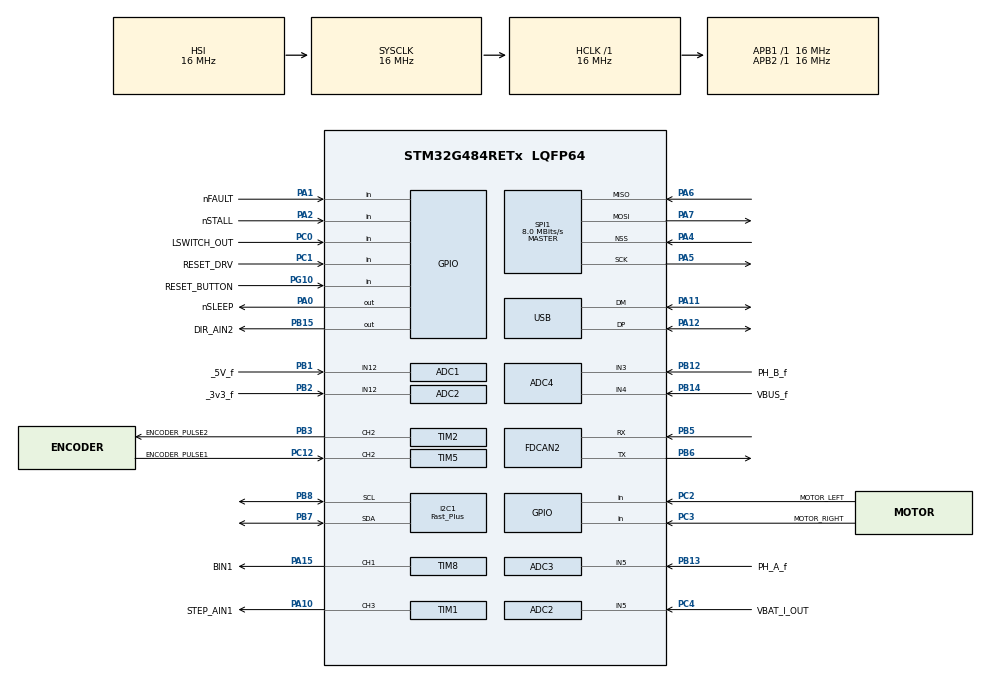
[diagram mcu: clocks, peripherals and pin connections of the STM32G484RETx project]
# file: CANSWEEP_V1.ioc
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ADC1.Channel-0\#ChannelRegularConversion=ADC_CHANNEL_12
ADC1.NbrOfConversionFlag=1
ADC1.OffsetNumber-0\#ChannelRegularConversion=ADC_OFFSET_NONE
ADC1.Rank-0\#ChannelRegularConversion=1
ADC1.SamplingTime-0\#ChannelRegularConversion=ADC_SAMPLETIME_2CYCLES_5
ADC1.master=1
ADC2.Channel-0\#ChannelRegularConversion=ADC_CHANNEL_12
ADC2.NbrOfConversionFlag=1
ADC2.OffsetNumber-0\#ChannelRegularConversion=ADC_OFFSET_NONE
ADC2.Rank-0\#ChannelRegularConversion=1
ADC2.SamplingTime-0\#ChannelRegularConversion=ADC_SAMPLETIME_2CYCLES_5
ADC3.Channel-0\#ChannelRegularConversion=ADC_CHANNEL_5
ADC3.NbrOfConversionFlag=1
ADC3.OffsetNumber-0\#ChannelRegularConversion=ADC_OFFSET_NONE
ADC3.Rank-0\#ChannelRegularConversion=1
ADC3.SamplingTime-0\#ChannelRegularConversion=ADC_SAMPLETIME_2CYCLES_5
ADC3.master=1
ADC4.Channel-0\#ChannelRegularConversion=ADC_CHANNEL_3
ADC4.NbrOfConversionFlag=1
ADC4.OffsetNumber-0\#ChannelRegularConversion=ADC_OFFSET_NONE
ADC4.Rank-0\#ChannelRegularConversion=1
ADC4.SamplingTime-0\#ChannelRegularConversion=ADC_SAMPLETIME_2CYCLES_5
ADC4.SingleDiff-0\#ChannelRegularConversion=ADC_DIFFERENTIAL_ENDED
FDCAN2.CalculateBaudRateNominal=333333
FDCAN2.CalculateTimeBitNominal=3000
FDCAN2.CalculateTimeQuantumNominal=1000.0
I2C1.I2C_Speed_Mode=I2C_Fast_Plus
I2C1.Timing=0x00200105
Mcu.Family=STM32G4
Mcu.Name=STM32G484RETx
Mcu.Package=LQFP64
NVIC.FDCAN2_IT0_IRQn=true\:0\:0\:false\:false\:true\:true\:true\:true
NVIC.FDCAN2_IT1_IRQn=true\:0\:0\:false\:false\:true\:true\:true\:true
NVIC.PriorityGroup=NVIC_PRIORITYGROUP_4
NVIC.TIM3_IRQn=true\:0\:0\:false\:false\:true\:true\:true\:true
PA0.GPIO_Label=nSLEEP
PA0.Signal=GPIO_Output
PA1.GPIO_Label=nFAULT
PA1.Signal=GPIO_Input
PA10.GPIO_Label=STEP_AIN1
PA10.Signal=S_TIM1_CH3
PA11.Mode=Device
PA11.Signal=USB_DM
PA12.Mode=Device
PA12.Signal=USB_DP
PA13.Mode=Serial_Wire
PA13.Signal=SYS_JTMS-SWDIO
PA14.Mode=Serial_Wire
PA14.Signal=SYS_JTCK-SWCLK
PA15.GPIO_Label=BIN1
PA15.Signal=S_TIM8_CH1
PA2.GPIO_Label=nSTALL
PA2.Signal=GPIO_Input
PA4.Mode=NSS_Signal_Hard_Input
PA4.Signal=SPI1_NSS
PA5.Mode=Full_Duplex_Master
PA5.Signal=SPI1_SCK
PA6.Mode=Full_Duplex_Master
PA6.Signal=SPI1_MISO
PA7.Mode=Full_Duplex_Master
PA7.Signal=SPI1_MOSI
PB1.GPIO_Label=_5V_f
PB1.Mode=IN12-Single-Ended
PB1.Signal=ADC1_IN12
PB12.GPIO_Label=PH_B_f
PB12.Mode=IN3-Differential
PB12.Signal=ADC4_IN3
PB13.GPIO_Label=PH_A_f
PB13.Mode=IN5-Single-Ended
PB13.Signal=ADC3_IN5
PB14.GPIO_Label=VBUS_f
PB14.Mode=IN3-Differential
PB14.Signal=ADC4_IN4
PB15.GPIO_Label=DIR_AIN2
PB15.GPIO_Speed=GPIO_SPEED_FREQ_HIGH
PB15.Signal=GPIO_Output
PB2.GPIO_Label=_3v3_f
PB2.Mode=IN12-Single-Ended
PB2.Signal=ADC2_IN12
PB3.GPIO_Label=ENCODER_PULSE2
PB3.Signal=S_TIM2_CH2
PB5.Mode=FDCAN_Activate
PB5.Signal=FDCAN2_RX
PB6.Mode=FDCAN_Activate
PB6.Signal=FDCAN2_TX
PB7.Mode=I2C
PB7.Signal=I2C1_SDA
PB8-BOOT0.Mode=I2C
PB8-BOOT0.Signal=I2C1_SCL
PC0.GPIO_Label=LSWITCH_OUT
PC0.Signal=GPIO_Input
PC1.GPIO_Label=RESET_DRV
PC1.Signal=GPIO_Input
PC10.GPIO_Label=BIN2
PC10.Signal=TIM8_CH1N
PC12.GPIO_Label=ENCODER_PULSE1
PC12.Signal=S_TIM5_CH2
PC2.GPIO_Label=MOTOR_LEFT
PC2.Signal=GPIO_Input
PC3.GPIO_Label=MOTOR_RIGHT
PC3.Signal=GPIO_Input
PC4.GPIO_Label=VBAT_I_OUT
PC4.Mode=IN5-Single-Ended
PC4.Signal=ADC2_IN5
PF0-OSC_IN.Mode=HSE-External-Oscillator
PF0-OSC_IN.Signal=RCC_OSC_IN
PF1-OSC_OUT.Mode=HSE-External-Oscillator
PF1-OSC_OUT.Signal=RCC_OSC_OUT
PG10-NRST.GPIO_Label=RESET_BUTTON
PG10-NRST.Signal=GPIO_Input
ProjectManager.HeapSize=0x200
ProjectManager.StackSize=0x400
ProjectManager.TargetToolchain=STM32CubeIDE
RCC.ADC12Freq_Value=16000000
RCC.ADC345Freq_Value=16000000
RCC.AHBFreq_Value=16000000
RCC.APB1Freq_Value=16000000
RCC.APB1TimFreq_Value=16000000
RCC.APB2Freq_Value=16000000
RCC.APB2TimFreq_Value=16000000
RCC.CortexFreq_Value=16000000
RCC.EXTERNAL_CLOCK_VALUE=12288000
RCC.HCLKFreq_Value=16000000
RCC.HSE_VALUE=8000000
RCC.HSI48_VALUE=48000000
RCC.HSI_VALUE=16000000
RCC.LSE_VALUE=32768
RCC.PLLN=12
RCC.PLLQ=RCC_PLLQ_DIV4
RCC.SYSCLKFreq_VALUE=16000000
RCC.USBFreq_Value=48000000
RCC.VCOOutputFreq_Value=192000000
SH.S_TIM1_CH3.0=TIM1_CH3,PWM Generation3 CH3
SH.S_TIM2_CH2.0=TIM2_CH2,PWM Generation2 CH2
SH.S_TIM5_CH2.0=TIM5_CH2,PWM_Input_2
SH.S_TIM8_CH1.0=TIM8_CH1,PWM Generation1 CH1
SPI1.CalculateBaudRate=8.0 MBits/s
SPI1.DataSize=SPI_DATASIZE_8BIT
SPI1.Direction=SPI_DIRECTION_2LINES
SPI1.Mode=SPI_MODE_MASTER
SPI1.VirtualNSS=VM_NSSHARD
SPI1.VirtualType=VM_MASTER
TIM1.AutoReloadPreload=TIM_AUTORELOAD_PRELOAD_ENABLE
TIM1.Channel-PWM\ Generation3\ CH3=TIM_CHANNEL_3
TIM1.OCFastMode_PWM-PWM\ Generation3\ CH3=TIM_OCFAST_ENABLE
TIM1.PulseNoDither_3=32768
TIM2.Channel-PWM\ Generation2\ CH2=TIM_CHANNEL_2
TIM3.PeriodNoDither=999
TIM3.Prescaler=31
TIM8.Channel-PWM\ Generation1\ CH1=TIM_CHANNEL_1
VP_SYS_VS_DBSignals.Mode=DisableDeadBatterySignals
VP_TIM1_VS_ClockSourceINT.Mode=Internal
VP_TIM3_VS_ClockSourceINT.Mode=Internal
VP_TIM5_VS_ClockSourceINT.Mode=Internal
board=custom

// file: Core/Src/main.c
/* USER CODE BEGIN Header */
/**
  ******************************************************************************
  * @file           : main.c
  * @brief          : Main program body
  ******************************************************************************
  * @attention
  *
  * Copyright (c) 2025 STMicroelectronics.
  * All rights reserved.
  *
  * This software is licensed under terms that can be found in the LICENSE file
  * in the root directory of this software component.
  * If no LICENSE file comes with this software, it is provided AS-IS.
  *
  * This code belongs to the development of the CANSWEEP V1 board kkk
  ******************************************************************************
  */
/* USER CODE END Header */
#include "main.h"

/* USER CODE BEGIN Includes */
#include <string.h> //Se incluye para poder usar funciones de manipulación de cadenas, como memcpy(), strcmp(), etc.
#include "encoder.h"
/* USER CODE END Includes */

/* USER CODE BEGIN PTD */
FDCAN_TxHeaderTypeDef TxHeader; // Estructura para definir la cabecera del mensaje CAN que vamos a enviar
FDCAN_RxHeaderTypeDef RxHeader; // Estructura para almacenar la cabecera del mensaje CAN recibido

/* USER CODE END PTD */

/* USER CODE BEGIN PD */
#define AS5600_ADDR 0x6C  // 7-bit address << 1 (Dirección I2C del encoder AS5600 (7 bits << 1 = 0x6C))
#define ANGLE_MSB_REG 0x0E  // Dirección del registro de ángulo del AS5600
/* USER CODE END PD */

ADC_HandleTypeDef hadc1;
ADC_HandleTypeDef hadc2;
ADC_HandleTypeDef hadc3;
ADC_HandleTypeDef hadc4;

FDCAN_HandleTypeDef hfdcan2;

I2C_HandleTypeDef hi2c1;

SPI_HandleTypeDef hspi1;

TIM_HandleTypeDef htim1;
TIM_HandleTypeDef htim2;
TIM_HandleTypeDef htim3;
TIM_HandleTypeDef htim5;
TIM_HandleTypeDef htim8;

PCD_HandleTypeDef hpcd_USB_FS;

/* USER CODE BEGIN PV */
uint8_t TxData[8]; // Buffer para datos CAN a transmitir (máximo 8 bytes)
uint8_t RxData[8]; // Buffer para datos CAN recibidos

volatile uint32_t pwm_rising = 0; // Marca de tiempo del flanco de subida del pulso del encoder
volatile uint32_t pwm_width = 0; // Duración del pulso (ancho), calculado con input capture

Encoder_Handle_t encoder_handle;

volatile uint8_t encoder_read_flag = 0;
/* USER CODE END PV */

void SystemClock_Config(void);
static void MX_GPIO_Init(void);
static void MX_I2C1_Init(void);
static void MX_SPI1_Init(void);
static void MX_USB_PCD_Init(void);
static void MX_ADC3_Init(void);
static void MX_ADC4_Init(void);
static void MX_FDCAN2_Init(void);
static void MX_ADC1_Init(void);
static void MX_ADC2_Init(void);
static void MX_TIM1_Init(void);
static void MX_TIM2_Init(void);
static void MX_TIM5_Init(void);
static void MX_TIM8_Init(void);
static void MX_TIM3_Init(void);
/* USER CODE BEGIN PFP */

// Funciones de control del driver DRV8711
void DRV8711_WriteRegister(uint8_t address, uint16_t data);
uint16_t DRV8711_ReadRegister(uint8_t address);
void DRV8711_Init(void);
void Motor_Step(uint32_t steps, uint8_t direction, uint32_t speed);

/* USER CODE END PFP */

/* USER CODE BEGIN 0 */

// Función para leer el ángulo actual del encoder AS5600
uint16_t ReadAS5600Angle()
{
    uint8_t angle_data[2];
    HAL_I2C_Mem_Read(&hi2c1, AS5600_ADDR, ANGLE_MSB_REG, I2C_MEMADD_SIZE_8BIT, angle_data, 2, HAL_MAX_DELAY);
    // ^ Lectura de 2 bytes desde el registro ANGLE_MSB_REG del AS5600 vía I2C
    uint16_t angle = ((angle_data[0] << 8) | angle_data[1]) & 0x0FFF;  // 12-bit mask
    // ^ Combina los dos bytes y aplica máscara de 12 bits
    return angle;
}

// Callback que se ejecuta cuando se captura un flanco en el pin del encoder (TIM5_CH2)
void HAL_TIM_IC_CaptureCallback(TIM_HandleTypeDef *htim)
{
    if (htim->Channel == HAL_TIM_ACTIVE_CHANNEL_2)
    {
        uint32_t capture = HAL_TIM_ReadCapturedValue(htim, TIM_CHANNEL_2);

        static uint8_t last_edge = 0;
        static uint32_t pwm_rising = 0;
        extern volatile uint32_t pwm_width;

        if (!last_edge) {
            pwm_rising = capture;
            __HAL_TIM_SET_CAPTUREPOLARITY(htim, TIM_CHANNEL_2, TIM_INPUTCHANNELPOLARITY_FALLING);
            last_edge = 1;
        } else {
            pwm_width = (capture >= pwm_rising) ? (capture - pwm_rising) : ((0xFFFFFFFF - pwm_rising) + capture);
            __HAL_TIM_SET_CAPTUREPOLARITY(htim, TIM_CHANNEL_2, TIM_INPUTCHANNELPOLARITY_RISING);
            last_edge = 0;
        }
    }
}
/* USER CODE END 0 */

int main(void)
{

  /* MCU Configuration--------------------------------------------------------*/

  /* Reset of all peripherals, Initializes the Flash interface and the Systick. */
  HAL_Init();

  /* Configure the system clock */
  SystemClock_Config();

  /* Initialize all configured peripherals */
  MX_GPIO_Init();
  MX_I2C1_Init();
  MX_SPI1_Init();
  MX_USB_PCD_Init();
  MX_ADC3_Init();
  MX_ADC4_Init();
  MX_FDCAN2_Init();
  MX_ADC1_Init();
  MX_ADC2_Init();
  MX_TIM1_Init();
  MX_TIM2_Init();
  MX_TIM5_Init();
  MX_TIM8_Init();
  MX_TIM3_Init();
  /* USER CODE BEGIN 2 */

  // Funció per inicialitzar tot lo de l'encoder (I2C)
  Encoder_Init(&encoder_handle, &hi2c1);

  // Inicialitzar timer interrupt per l'encoder
  HAL_TIM_Base_Start_IT(&htim3);

  // Inicializar DRV8711
  DRV8711_Init();

  //  Inicializar encoder, inicio del timer en modo captura por interrupción para leer el pulso del encoder
  HAL_TIM_IC_Start_IT(&htim5, TIM_CHANNEL_2);  // Start input capture

  //  Inicializar CAN
  HAL_FDCAN_Start(&hfdcan2); // Se inicia la periferia CAN

  // Activate notification for RX FIFO 0
  HAL_FDCAN_ActivateNotification(&hfdcan2, FDCAN_IT_RX_FIFO0_NEW_MESSAGE, 0); // Activación de interrupciones por nuevos mensajes recibidos en RX FIFO0

  // Setup TX Header for CAN messages
  TxHeader.Identifier = 0x123;
  TxHeader.IdType = FDCAN_STANDARD_ID;
  TxHeader.TxFrameType = FDCAN_DATA_FRAME;
  TxHeader.DataLength = FDCAN_DLC_BYTES_8;
  TxHeader.ErrorStateIndicator = FDCAN_ESI_ACTIVE;
  TxHeader.BitRateSwitch = FDCAN_BRS_OFF;
  TxHeader.FDFormat = FDCAN_CLASSIC_CAN;
  TxHeader.TxEventFifoControl = FDCAN_NO_TX_EVENTS;
  TxHeader.MessageMarker = 0;

  // Transmit example
  strcpy((char*)TxData, "HELLO");
  HAL_FDCAN_AddMessageToTxFifoQ(&hfdcan2, &TxHeader, TxData); // Copia el string "HELLO" al buffer TxData
  /* USER CODE END 2 */

  /* Infinite loop */
  /* USER CODE BEGIN WHILE */
  while (1)
  {

	  if (encoder_read_flag) //check si s'ha de fer una lectura de l'encoder
	  {
		  encoder_read_flag = 0; //desactivem el flag
		  Encoder_UpdatePosition(&encoder_handle, &hi2c1);  // lectura encoder
	  }

	  // CAN send commands test
	  strcpy((char*)TxData, "PING");
	  HAL_FDCAN_AddMessageToTxFifoQ(&hfdcan2, &TxHeader, TxData);

	  // Lectura de ángulo del encoder vía I2C
	  // uint16_t current_angle = ReadAS5600Angle();
	  // Conversión del ancho de pulso a grados (asumiendo mapeo entre 1000 y 2000us)
	  // float angle_pwm_deg = ((float)pwm_width - 1000.0f) * 0.36f;

	  // Read Encoder and transform raw data to degrees
	  uint16_t raw_angle = ReadAS5600Angle(); // Lee valor crudo del AS5600
	  float angle_deg = (raw_angle * 360.0f) / 4096.0f; // Convierte a grados

	  float target_angle = 180.0f;

	  // Controlar motor usando la variable de posicion del encoder
	    if (angle_deg < target_angle - 1 || angle_deg > target_angle + 1)
	    {
	        Motor_Step(1, 1, 1000); // Paso hacia adelante a 1000 pasos/s
	    }
	    else
	    {
	        //printf("Objetivo alcanzado: %.2f°\r\n", angle_deg);
	        break; // Salimos del bucle
	    }

	  // Enviar feedback
		uint8_t can_data[8] = {0}; // clean buffer
		memcpy(can_data, &angle_deg, sizeof(float)); // Copiar float (4 bytes) al buffer CAN

		HAL_FDCAN_AddMessageToTxFifoQ(&hfdcan2, &TxHeader, can_data);

    /* USER CODE END WHILE */

  }
}

void SystemClock_Config(void)
{
  RCC_OscInitTypeDef RCC_OscInitStruct = {0};
  RCC_ClkInitTypeDef RCC_ClkInitStruct = {0};

  /** Configure the main internal regulator output voltage
  */
  HAL_PWREx_ControlVoltageScaling(PWR_REGULATOR_VOLTAGE_SCALE1);

  /** Initializes the RCC Oscillators according to the specified parameters
  * in the RCC_OscInitTypeDef structure.
  */
  RCC_OscInitStruct.OscillatorType = RCC_OSCILLATORTYPE_HSI;
  RCC_OscInitStruct.HSIState = RCC_HSI_ON;
  RCC_OscInitStruct.HSICalibrationValue = RCC_HSICALIBRATION_DEFAULT;
  RCC_OscInitStruct.PLL.PLLState = RCC_PLL_ON;
  RCC_OscInitStruct.PLL.PLLSource = RCC_PLLSOURCE_HSI;
  RCC_OscInitStruct.PLL.PLLM = RCC_PLLM_DIV1;
  RCC_OscInitStruct.PLL.PLLN = 12;
  RCC_OscInitStruct.PLL.PLLP = RCC_PLLP_DIV2;
  RCC_OscInitStruct.PLL.PLLQ = RCC_PLLQ_DIV4;
  RCC_OscInitStruct.PLL.PLLR = RCC_PLLR_DIV2;
  if (HAL_RCC_OscConfig(&RCC_OscInitStruct) != HAL_OK)
  {
    Error_Handler();
  }

  /** Initializes the CPU, AHB and APB buses clocks
  */
  RCC_ClkInitStruct.ClockType = RCC_CLOCKTYPE_HCLK|RCC_CLOCKTYPE_SYSCLK
                              |RCC_CLOCKTYPE_PCLK1|RCC_CLOCKTYPE_PCLK2;
  RCC_ClkInitStruct.SYSCLKSource = RCC_SYSCLKSOURCE_HSI;
  RCC_ClkInitStruct.AHBCLKDivider = RCC_SYSCLK_DIV1;
  RCC_ClkInitStruct.APB1CLKDivider = RCC_HCLK_DIV1;
  RCC_ClkInitStruct.APB2CLKDivider = RCC_HCLK_DIV1;

  if (HAL_RCC_ClockConfig(&RCC_ClkInitStruct, FLASH_LATENCY_0) != HAL_OK)
  {
    Error_Handler();
  }
}

static void MX_ADC1_Init(void)
{

  ADC_MultiModeTypeDef multimode = {0};
  ADC_ChannelConfTypeDef sConfig = {0};

  /** Common config
  */
  hadc1.Instance = ADC1;
  hadc1.Init.ClockPrescaler = ADC_CLOCK_SYNC_PCLK_DIV2;
  hadc1.Init.Resolution = ADC_RESOLUTION_12B;
  hadc1.Init.DataAlign = ADC_DATAALIGN_RIGHT;
  hadc1.Init.GainCompensation = 0;
  hadc1.Init.ScanConvMode = ADC_SCAN_DISABLE;
  hadc1.Init.EOCSelection = ADC_EOC_SINGLE_CONV;
  hadc1.Init.LowPowerAutoWait = DISABLE;
  hadc1.Init.ContinuousConvMode = DISABLE;
  hadc1.Init.NbrOfConversion = 1;
  hadc1.Init.DiscontinuousConvMode = DISABLE;
  hadc1.Init.ExternalTrigConv = ADC_SOFTWARE_START;
  hadc1.Init.ExternalTrigConvEdge = ADC_EXTERNALTRIGCONVEDGE_NONE;
  hadc1.Init.DMAContinuousRequests = DISABLE;
  hadc1.Init.Overrun = ADC_OVR_DATA_PRESERVED;
  hadc1.Init.OversamplingMode = DISABLE;
  if (HAL_ADC_Init(&hadc1) != HAL_OK)
  {
    Error_Handler();
  }

  /** Configure the ADC multi-mode
  */
  multimode.Mode = ADC_MODE_INDEPENDENT;
  if (HAL_ADCEx_MultiModeConfigChannel(&hadc1, &multimode) != HAL_OK)
  {
    Error_Handler();
  }

  /** Configure Regular Channel
  */
  sConfig.Channel = ADC_CHANNEL_12;
  sConfig.Rank = ADC_REGULAR_RANK_1;
  sConfig.SamplingTime = ADC_SAMPLETIME_2CYCLES_5;
  sConfig.SingleDiff = ADC_SINGLE_ENDED;
  sConfig.OffsetNumber = ADC_OFFSET_NONE;
  sConfig.Offset = 0;
  if (HAL_ADC_ConfigChannel(&hadc1, &sConfig) != HAL_OK)
  {
    Error_Handler();
  }

}

static void MX_ADC2_Init(void)
{

  ADC_ChannelConfTypeDef sConfig = {0};

  /** Common config
  */
  hadc2.Instance = ADC2;
  hadc2.Init.ClockPrescaler = ADC_CLOCK_SYNC_PCLK_DIV2;
  hadc2.Init.Resolution = ADC_RESOLUTION_12B;
  hadc2.Init.DataAlign = ADC_DATAALIGN_RIGHT;
  hadc2.Init.GainCompensation = 0;
  hadc2.Init.ScanConvMode = ADC_SCAN_DISABLE;
  hadc2.Init.EOCSelection = ADC_EOC_SINGLE_CONV;
  hadc2.Init.LowPowerAutoWait = DISABLE;
  hadc2.Init.ContinuousConvMode = DISABLE;
  hadc2.Init.NbrOfConversion = 1;
  hadc2.Init.DiscontinuousConvMode = DISABLE;
  hadc2.Init.ExternalTrigConv = ADC_SOFTWARE_START;
  hadc2.Init.ExternalTrigConvEdge = ADC_EXTERNALTRIGCONVEDGE_NONE;
  hadc2.Init.DMAContinuousRequests = DISABLE;
  hadc2.Init.Overrun = ADC_OVR_DATA_PRESERVED;
  hadc2.Init.OversamplingMode = DISABLE;
  if (HAL_ADC_Init(&hadc2) != HAL_OK)
  {
    Error_Handler();
  }

  /** Configure Regular Channel
  */
  sConfig.Channel = ADC_CHANNEL_12;
  sConfig.Rank = ADC_REGULAR_RANK_1;
  sConfig.SamplingTime = ADC_SAMPLETIME_2CYCLES_5;
  sConfig.SingleDiff = ADC_SINGLE_ENDED;
  sConfig.OffsetNumber = ADC_OFFSET_NONE;
  sConfig.Offset = 0;
  if (HAL_ADC_ConfigChannel(&hadc2, &sConfig) != HAL_OK)
  {
    Error_Handler();
  }

}

static void MX_ADC3_Init(void)
{

  ADC_MultiModeTypeDef multimode = {0};
  ADC_ChannelConfTypeDef sConfig = {0};

  /** Common config
  */
  hadc3.Instance = ADC3;
  hadc3.Init.ClockPrescaler = ADC_CLOCK_SYNC_PCLK_DIV2;
  hadc3.Init.Resolution = ADC_RESOLUTION_12B;
  hadc3.Init.DataAlign = ADC_DATAALIGN_RIGHT;
  hadc3.Init.GainCompensation = 0;
  hadc3.Init.ScanConvMode = ADC_SCAN_DISABLE;
  hadc3.Init.EOCSelection = ADC_EOC_SINGLE_CONV;
  hadc3.Init.LowPowerAutoWait = DISABLE;
  hadc3.Init.ContinuousConvMode = DISABLE;
  hadc3.Init.NbrOfConversion = 1;
  hadc3.Init.DiscontinuousConvMode = DISABLE;
  hadc3.Init.ExternalTrigConv = ADC_SOFTWARE_START;
  hadc3.Init.ExternalTrigConvEdge = ADC_EXTERNALTRIGCONVEDGE_NONE;
  hadc3.Init.DMAContinuousRequests = DISABLE;
  hadc3.Init.Overrun = ADC_OVR_DATA_PRESERVED;
  hadc3.Init.OversamplingMode = DISABLE;
  if (HAL_ADC_Init(&hadc3) != HAL_OK)
  {
    Error_Handler();
  }

  /** Configure the ADC multi-mode
  */
  multimode.Mode = ADC_MODE_INDEPENDENT;
  if (HAL_ADCEx_MultiModeConfigChannel(&hadc3, &multimode) != HAL_OK)
  {
    Error_Handler();
  }

  /** Configure Regular Channel
  */
  sConfig.Channel = ADC_CHANNEL_5;
  sConfig.Rank = ADC_REGULAR_RANK_1;
  sConfig.SamplingTime = ADC_SAMPLETIME_2CYCLES_5;
  sConfig.SingleDiff = ADC_SINGLE_ENDED;
  sConfig.OffsetNumber = ADC_OFFSET_NONE;
  sConfig.Offset = 0;
  if (HAL_ADC_ConfigChannel(&hadc3, &sConfig) != HAL_OK)
  {
    Error_Handler();
  }

}

static void MX_ADC4_Init(void)
{

  ADC_ChannelConfTypeDef sConfig = {0};

  /** Common config
  */
  hadc4.Instance = ADC4;
  hadc4.Init.ClockPrescaler = ADC_CLOCK_SYNC_PCLK_DIV2;
  hadc4.Init.Resolution = ADC_RESOLUTION_12B;
  hadc4.Init.DataAlign = ADC_DATAALIGN_RIGHT;
  hadc4.Init.GainCompensation = 0;
  hadc4.Init.ScanConvMode = ADC_SCAN_DISABLE;
  hadc4.Init.EOCSelection = ADC_EOC_SINGLE_CONV;
  hadc4.Init.LowPowerAutoWait = DISABLE;
  hadc4.Init.ContinuousConvMode = DISABLE;
  hadc4.Init.NbrOfConversion = 1;
  hadc4.Init.DiscontinuousConvMode = DISABLE;
  hadc4.Init.ExternalTrigConv = ADC_SOFTWARE_START;
  hadc4.Init.ExternalTrigConvEdge = ADC_EXTERNALTRIGCONVEDGE_NONE;
  hadc4.Init.DMAContinuousRequests = DISABLE;
  hadc4.Init.Overrun = ADC_OVR_DATA_PRESERVED;
  hadc4.Init.OversamplingMode = DISABLE;
  if (HAL_ADC_Init(&hadc4) != HAL_OK)
  {
    Error_Handler();
  }

  /** Configure Regular Channel
  */
  sConfig.Channel = ADC_CHANNEL_3;
  sConfig.Rank = ADC_REGULAR_RANK_1;
  sConfig.SamplingTime = ADC_SAMPLETIME_2CYCLES_5;
  sConfig.SingleDiff = ADC_DIFFERENTIAL_ENDED;
  sConfig.OffsetNumber = ADC_OFFSET_NONE;
  sConfig.Offset = 0;
  if (HAL_ADC_ConfigChannel(&hadc4, &sConfig) != HAL_OK)
  {
    Error_Handler();
  }

}

static void MX_FDCAN2_Init(void)
{

  hfdcan2.Instance = FDCAN2;
  hfdcan2.Init.ClockDivider = FDCAN_CLOCK_DIV1;
  hfdcan2.Init.FrameFormat = FDCAN_FRAME_CLASSIC;
  hfdcan2.Init.Mode = FDCAN_MODE_NORMAL;
  hfdcan2.Init.AutoRetransmission = DISABLE;
  hfdcan2.Init.TransmitPause = DISABLE;
  hfdcan2.Init.ProtocolException = DISABLE;
  hfdcan2.Init.NominalPrescaler = 16;
  hfdcan2.Init.NominalSyncJumpWidth = 1;
  hfdcan2.Init.NominalTimeSeg1 = 1;
  hfdcan2.Init.NominalTimeSeg2 = 1;
  hfdcan2.Init.DataPrescaler = 1;
  hfdcan2.Init.DataSyncJumpWidth = 1;
  hfdcan2.Init.DataTimeSeg1 = 1;
  hfdcan2.Init.DataTimeSeg2 = 1;
  hfdcan2.Init.StdFiltersNbr = 0;
  hfdcan2.Init.ExtFiltersNbr = 0;
  hfdcan2.Init.TxFifoQueueMode = FDCAN_TX_FIFO_OPERATION;
  if (HAL_FDCAN_Init(&hfdcan2) != HAL_OK)
  {
    Error_Handler();
  }

}

static void MX_I2C1_Init(void)
{

  hi2c1.Instance = I2C1;
  hi2c1.Init.Timing = 0x00200105;
  hi2c1.Init.OwnAddress1 = 0;
  hi2c1.Init.AddressingMode = I2C_ADDRESSINGMODE_7BIT;
  hi2c1.Init.DualAddressMode = I2C_DUALADDRESS_DISABLE;
  hi2c1.Init.OwnAddress2 = 0;
  hi2c1.Init.OwnAddress2Masks = I2C_OA2_NOMASK;
  hi2c1.Init.GeneralCallMode = I2C_GENERALCALL_DISABLE;
  hi2c1.Init.NoStretchMode = I2C_NOSTRETCH_DISABLE;
  if (HAL_I2C_Init(&hi2c1) != HAL_OK)
  {
    Error_Handler();
  }

  /** Configure Analogue filter
  */
  if (HAL_I2CEx_ConfigAnalogFilter(&hi2c1, I2C_ANALOGFILTER_ENABLE) != HAL_OK)
  {
    Error_Handler();
  }

  /** Configure Digital filter
  */
  if (HAL_I2CEx_ConfigDigitalFilter(&hi2c1, 0) != HAL_OK)
  {
    Error_Handler();
  }

  /** I2C Fast mode Plus enable
  */
  HAL_I2CEx_EnableFastModePlus(I2C_FASTMODEPLUS_I2C1);

}

static void MX_SPI1_Init(void)
{

  /* SPI1 parameter configuration*/
  hspi1.Instance = SPI1;
  hspi1.Init.Mode = SPI_MODE_MASTER;
  hspi1.Init.Direction = SPI_DIRECTION_2LINES;
  hspi1.Init.DataSize = SPI_DATASIZE_8BIT;
  hspi1.Init.CLKPolarity = SPI_POLARITY_LOW;
  hspi1.Init.CLKPhase = SPI_PHASE_1EDGE;
  hspi1.Init.NSS = SPI_NSS_HARD_INPUT;
  hspi1.Init.BaudRatePrescaler = SPI_BAUDRATEPRESCALER_2;
  hspi1.Init.FirstBit = SPI_FIRSTBIT_MSB;
  hspi1.Init.TIMode = SPI_TIMODE_DISABLE;
  hspi1.Init.CRCCalculation = SPI_CRCCALCULATION_DISABLE;
  hspi1.Init.CRCPolynomial = 7;
  hspi1.Init.CRCLength = SPI_CRC_LENGTH_DATASIZE;
  hspi1.Init.NSSPMode = SPI_NSS_PULSE_ENABLE;
  if (HAL_SPI_Init(&hspi1) != HAL_OK)
  {
    Error_Handler();
  }

}

static void MX_TIM1_Init(void)
{

  TIM_ClockConfigTypeDef sClockSourceConfig = {0};
  TIM_MasterConfigTypeDef sMasterConfig = {0};
  TIM_OC_InitTypeDef sConfigOC = {0};
  TIM_BreakDeadTimeConfigTypeDef sBreakDeadTimeConfig = {0};

  htim1.Instance = TIM1;
  htim1.Init.Prescaler = 0;
  htim1.Init.CounterMode = TIM_COUNTERMODE_UP;
  htim1.Init.Period = 65535;
  htim1.Init.ClockDivision = TIM_CLOCKDIVISION_DIV1;
  htim1.Init.RepetitionCounter = 0;
  htim1.Init.AutoReloadPreload = TIM_AUTORELOAD_PRELOAD_ENABLE;
  if (HAL_TIM_Base_Init(&htim1) != HAL_OK)
  {
    Error_Handler();
  }
  sClockSourceConfig.ClockSource = TIM_CLOCKSOURCE_INTERNAL;
  if (HAL_TIM_ConfigClockSource(&htim1, &sClockSourceConfig) != HAL_OK)
  {
    Error_Handler();
  }
  if (HAL_TIM_PWM_Init(&htim1) != HAL_OK)
  {
    Error_Handler();
  }
  sMasterConfig.MasterOutputTrigger = TIM_TRGO_RESET;
  sMasterConfig.MasterOutputTrigger2 = TIM_TRGO2_RESET;
  sMasterConfig.MasterSlaveMode = TIM_MASTERSLAVEMODE_DISABLE;
  if (HAL_TIMEx_MasterConfigSynchronization(&htim1, &sMasterConfig) != HAL_OK)
  {
    Error_Handler();
  }
  sConfigOC.OCMode = TIM_OCMODE_PWM1;
  sConfigOC.Pulse = 32768;
  sConfigOC.OCPolarity = TIM_OCPOLARITY_HIGH;
  sConfigOC.OCNPolarity = TIM_OCNPOLARITY_HIGH;
  sConfigOC.OCFastMode = TIM_OCFAST_ENABLE;
  sConfigOC.OCIdleState = TIM_OCIDLESTATE_RESET;
  sConfigOC.OCNIdleState = TIM_OCNIDLESTATE_RESET;
  if (HAL_TIM_PWM_ConfigChannel(&htim1, &sConfigOC, TIM_CHANNEL_3) != HAL_OK)
  {
    Error_Handler();
  }
  sBreakDeadTimeConfig.OffStateRunMode = TIM_OSSR_DISABLE;
  sBreakDeadTimeConfig.OffStateIDLEMode = TIM_OSSI_DISABLE;
  sBreakDeadTimeConfig.LockLevel = TIM_LOCKLEVEL_OFF;
  sBreakDeadTimeConfig.DeadTime = 0;
  sBreakDeadTimeConfig.BreakState = TIM_BREAK_DISABLE;
  sBreakDeadTimeConfig.BreakPolarity = TIM_BREAKPOLARITY_HIGH;
  sBreakDeadTimeConfig.BreakFilter = 0;
  sBreakDeadTimeConfig.BreakAFMode = TIM_BREAK_AFMODE_INPUT;
  sBreakDeadTimeConfig.Break2State = TIM_BREAK2_DISABLE;
  sBreakDeadTimeConfig.Break2Polarity = TIM_BREAK2POLARITY_HIGH;
  sBreakDeadTimeConfig.Break2Filter = 0;
  sBreakDeadTimeConfig.Break2AFMode = TIM_BREAK_AFMODE_INPUT;
  sBreakDeadTimeConfig.AutomaticOutput = TIM_AUTOMATICOUTPUT_DISABLE;
  if (HAL_TIMEx_ConfigBreakDeadTime(&htim1, &sBreakDeadTimeConfig) != HAL_OK)
  {
    Error_Handler();
  }
  HAL_TIM_MspPostInit(&htim1);

}

static void MX_TIM2_Init(void)
{

  TIM_MasterConfigTypeDef sMasterConfig = {0};
  TIM_OC_InitTypeDef sConfigOC = {0};

  htim2.Instance = TIM2;
  htim2.Init.Prescaler = 0;
  htim2.Init.CounterMode = TIM_COUNTERMODE_UP;
  htim2.Init.Period = 4294967295;
  htim2.Init.ClockDivision = TIM_CLOCKDIVISION_DIV1;
  htim2.Init.AutoReloadPreload = TIM_AUTORELOAD_PRELOAD_DISABLE;
  if (HAL_TIM_PWM_Init(&htim2) != HAL_OK)
  {
    Error_Handler();
  }
  sMasterConfig.MasterOutputTrigger = TIM_TRGO_RESET;
  sMasterConfig.MasterSlaveMode = TIM_MASTERSLAVEMODE_DISABLE;
  if (HAL_TIMEx_MasterConfigSynchronization(&htim2, &sMasterConfig) != HAL_OK)
  {
    Error_Handler();
  }
  sConfigOC.OCMode = TIM_OCMODE_PWM1;
  sConfigOC.Pulse = 0;
  sConfigOC.OCPolarity = TIM_OCPOLARITY_HIGH;
  sConfigOC.OCFastMode = TIM_OCFAST_DISABLE;
  if (HAL_TIM_PWM_ConfigChannel(&htim2, &sConfigOC, TIM_CHANNEL_2) != HAL_OK)
  {
    Error_Handler();
  }
  HAL_TIM_MspPostInit(&htim2);

}

static void MX_TIM3_Init(void)
{

  TIM_ClockConfigTypeDef sClockSourceConfig = {0};
  TIM_MasterConfigTypeDef sMasterConfig = {0};

  htim3.Instance = TIM3;
  htim3.Init.Prescaler = 31;
  htim3.Init.CounterMode = TIM_COUNTERMODE_UP;
  htim3.Init.Period = 999;
  htim3.Init.ClockDivision = TIM_CLOCKDIVISION_DIV1;
  htim3.Init.AutoReloadPreload = TIM_AUTORELOAD_PRELOAD_DISABLE;
  if (HAL_TIM_Base_Init(&htim3) != HAL_OK)
  {
    Error_Handler();
  }
  sClockSourceConfig.ClockSource = TIM_CLOCKSOURCE_INTERNAL;
  if (HAL_TIM_ConfigClockSource(&htim3, &sClockSourceConfig) != HAL_OK)
  {
    Error_Handler();
  }
  sMasterConfig.MasterOutputTrigger = TIM_TRGO_RESET;
  sMasterConfig.MasterSlaveMode = TIM_MASTERSLAVEMODE_DISABLE;
  if (HAL_TIMEx_MasterConfigSynchronization(&htim3, &sMasterConfig) != HAL_OK)
  {
    Error_Handler();
  }

}

static void MX_TIM5_Init(void)
{

  TIM_ClockConfigTypeDef sClockSourceConfig = {0};
  TIM_SlaveConfigTypeDef sSlaveConfig = {0};
  TIM_IC_InitTypeDef sConfigIC = {0};
  TIM_MasterConfigTypeDef sMasterConfig = {0};

  htim5.Instance = TIM5;
  htim5.Init.Prescaler = 0;
  htim5.Init.CounterMode = TIM_COUNTERMODE_UP;
  htim5.Init.Period = 4294967295;
  htim5.Init.ClockDivision = TIM_CLOCKDIVISION_DIV1;
  htim5.Init.AutoReloadPreload = TIM_AUTORELOAD_PRELOAD_DISABLE;
  if (HAL_TIM_Base_Init(&htim5) != HAL_OK)
  {
    Error_Handler();
  }
  sClockSourceConfig.ClockSource = TIM_CLOCKSOURCE_INTERNAL;
  if (HAL_TIM_ConfigClockSource(&htim5, &sClockSourceConfig) != HAL_OK)
  {
    Error_Handler();
  }
  if (HAL_TIM_IC_Init(&htim5) != HAL_OK)
  {
    Error_Handler();
  }
  sSlaveConfig.SlaveMode = TIM_SLAVEMODE_RESET;
  sSlaveConfig.InputTrigger = TIM_TS_TI2FP2;
  sSlaveConfig.TriggerPolarity = TIM_INPUTCHANNELPOLARITY_FALLING;
  sSlaveConfig.TriggerPrescaler = TIM_ICPSC_DIV1;
  sSlaveConfig.TriggerFilter = 0;
  if (HAL_TIM_SlaveConfigSynchro(&htim5, &sSlaveConfig) != HAL_OK)
  {
    Error_Handler();
  }
  sConfigIC.ICPolarity = TIM_INPUTCHANNELPOLARITY_RISING;
  sConfigIC.ICSelection = TIM_ICSELECTION_INDIRECTTI;
  sConfigIC.ICPrescaler = TIM_ICPSC_DIV1;
  sConfigIC.ICFilter = 0;
  if (HAL_TIM_IC_ConfigChannel(&htim5, &sConfigIC, TIM_CHANNEL_1) != HAL_OK)
  {
    Error_Handler();
  }
  sConfigIC.ICPolarity = TIM_INPUTCHANNELPOLARITY_FALLING;
  sConfigIC.ICSelection = TIM_ICSELECTION_DIRECTTI;
  if (HAL_TIM_IC_ConfigChannel(&htim5, &sConfigIC, TIM_CHANNEL_2) != HAL_OK)
  {
    Error_Handler();
  }
  sMasterConfig.MasterOutputTrigger = TIM_TRGO_RESET;
  sMasterConfig.MasterSlaveMode = TIM_MASTERSLAVEMODE_DISABLE;
  if (HAL_TIMEx_MasterConfigSynchronization(&htim5, &sMasterConfig) != HAL_OK)
  {
    Error_Handler();
  }

}

static void MX_TIM8_Init(void)
{

  TIM_MasterConfigTypeDef sMasterConfig = {0};
  TIM_OC_InitTypeDef sConfigOC = {0};
  TIM_BreakDeadTimeConfigTypeDef sBreakDeadTimeConfig = {0};

  htim8.Instance = TIM8;
  htim8.Init.Prescaler = 0;
  htim8.Init.CounterMode = TIM_COUNTERMODE_UP;
  htim8.Init.Period = 65535;
  htim8.Init.ClockDivision = TIM_CLOCKDIVISION_DIV1;
  htim8.Init.RepetitionCounter = 0;
  htim8.Init.AutoReloadPreload = TIM_AUTORELOAD_PRELOAD_DISABLE;
  if (HAL_TIM_PWM_Init(&htim8) != HAL_OK)
  {
    Error_Handler();
  }
  sMasterConfig.MasterOutputTrigger = TIM_TRGO_RESET;
  sMasterConfig.MasterOutputTrigger2 = TIM_TRGO2_RESET;
  sMasterConfig.MasterSlaveMode = TIM_MASTERSLAVEMODE_DISABLE;
  if (HAL_TIMEx_MasterConfigSynchronization(&htim8, &sMasterConfig) != HAL_OK)
  {
    Error_Handler();
  }
  sConfigOC.OCMode = TIM_OCMODE_PWM1;
  sConfigOC.Pulse = 0;
  sConfigOC.OCPolarity = TIM_OCPOLARITY_HIGH;
  sConfigOC.OCNPolarity = TIM_OCNPOLARITY_HIGH;
  sConfigOC.OCFastMode = TIM_OCFAST_DISABLE;
  sConfigOC.OCIdleState = TIM_OCIDLESTATE_RESET;
  sConfigOC.OCNIdleState = TIM_OCNIDLESTATE_RESET;
  if (HAL_TIM_PWM_ConfigChannel(&htim8, &sConfigOC, TIM_CHANNEL_1) != HAL_OK)
  {
    Error_Handler();
  }
  sBreakDeadTimeConfig.OffStateRunMode = TIM_OSSR_DISABLE;
  sBreakDeadTimeConfig.OffStateIDLEMode = TIM_OSSI_DISABLE;
  sBreakDeadTimeConfig.LockLevel = TIM_LOCKLEVEL_OFF;
  sBreakDeadTimeConfig.DeadTime = 0;
  sBreakDeadTimeConfig.BreakState = TIM_BREAK_DISABLE;
  sBreakDeadTimeConfig.BreakPolarity = TIM_BREAKPOLARITY_HIGH;
  sBreakDeadTimeConfig.BreakFilter = 0;
  sBreakDeadTimeConfig.BreakAFMode = TIM_BREAK_AFMODE_INPUT;
  sBreakDeadTimeConfig.Break2State = TIM_BREAK2_DISABLE;
  sBreakDeadTimeConfig.Break2Polarity = TIM_BREAK2POLARITY_HIGH;
  sBreakDeadTimeConfig.Break2Filter = 0;
  sBreakDeadTimeConfig.Break2AFMode = TIM_BREAK_AFMODE_INPUT;
  sBreakDeadTimeConfig.AutomaticOutput = TIM_AUTOMATICOUTPUT_DISABLE;
  if (HAL_TIMEx_ConfigBreakDeadTime(&htim8, &sBreakDeadTimeConfig) != HAL_OK)
  {
    Error_Handler();
  }
  HAL_TIM_MspPostInit(&htim8);

}

static void MX_USB_PCD_Init(void)
{

  hpcd_USB_FS.Instance = USB;
  hpcd_USB_FS.Init.dev_endpoints = 8;
  hpcd_USB_FS.Init.speed = PCD_SPEED_FULL;
  hpcd_USB_FS.Init.phy_itface = PCD_PHY_EMBEDDED;
  hpcd_USB_FS.Init.Sof_enable = DISABLE;
  hpcd_USB_FS.Init.low_power_enable = DISABLE;
  hpcd_USB_FS.Init.lpm_enable = DISABLE;
  hpcd_USB_FS.Init.battery_charging_enable = DISABLE;
  if (HAL_PCD_Init(&hpcd_USB_FS) != HAL_OK)
  {
    Error_Handler();
  }

}

static void MX_GPIO_Init(void)
{
  GPIO_InitTypeDef GPIO_InitStruct = {0};

  /* GPIO Ports Clock Enable */
  __HAL_RCC_GPIOF_CLK_ENABLE();
  __HAL_RCC_GPIOG_CLK_ENABLE();
  __HAL_RCC_GPIOC_CLK_ENABLE();
  __HAL_RCC_GPIOA_CLK_ENABLE();
  __HAL_RCC_GPIOB_CLK_ENABLE();

  /*Configure GPIO pin Output Level */
  HAL_GPIO_WritePin(nSLEEP_GPIO_Port, nSLEEP_Pin, GPIO_PIN_RESET);

  /*Configure GPIO pin Output Level */
  HAL_GPIO_WritePin(DIR_AIN2_GPIO_Port, DIR_AIN2_Pin, GPIO_PIN_RESET);

  /*Configure GPIO pin : RESET_BUTTON_Pin */
  GPIO_InitStruct.Pin = RESET_BUTTON_Pin;
  GPIO_InitStruct.Mode = GPIO_MODE_INPUT;
  GPIO_InitStruct.Pull = GPIO_NOPULL;
  HAL_GPIO_Init(RESET_BUTTON_GPIO_Port, &GPIO_InitStruct);

  /*Configure GPIO pins : LSWITCH_OUT_Pin RESET_DRV_Pin MOTOR_LEFT_Pin MOTOR_RIGHT_Pin */
  GPIO_InitStruct.Pin = LSWITCH_OUT_Pin|RESET_DRV_Pin|MOTOR_LEFT_Pin|MOTOR_RIGHT_Pin;
  GPIO_InitStruct.Mode = GPIO_MODE_INPUT;
  GPIO_InitStruct.Pull = GPIO_NOPULL;
  HAL_GPIO_Init(GPIOC, &GPIO_InitStruct);

  /*Configure GPIO pin : nSLEEP_Pin */
  GPIO_InitStruct.Pin = nSLEEP_Pin;
  GPIO_InitStruct.Mode = GPIO_MODE_OUTPUT_PP;
  GPIO_InitStruct.Pull = GPIO_NOPULL;
  GPIO_InitStruct.Speed = GPIO_SPEED_FREQ_LOW;
  HAL_GPIO_Init(nSLEEP_GPIO_Port, &GPIO_InitStruct);

  /*Configure GPIO pins : nFAULT_Pin nSTALL_Pin */
  GPIO_InitStruct.Pin = nFAULT_Pin|nSTALL_Pin;
  GPIO_InitStruct.Mode = GPIO_MODE_INPUT;
  GPIO_InitStruct.Pull = GPIO_NOPULL;
  HAL_GPIO_Init(GPIOA, &GPIO_InitStruct);

  /*Configure GPIO pin : DIR_AIN2_Pin */
  GPIO_InitStruct.Pin = DIR_AIN2_Pin;
  GPIO_InitStruct.Mode = GPIO_MODE_OUTPUT_PP;
  GPIO_InitStruct.Pull = GPIO_NOPULL;
  GPIO_InitStruct.Speed = GPIO_SPEED_FREQ_HIGH;
  HAL_GPIO_Init(DIR_AIN2_GPIO_Port, &GPIO_InitStruct);

}

/* USER CODE BEGIN 4 */

// Timer interrupt callback - called every 2ms (500Hz)
void HAL_TIM_PeriodElapsedCallback(TIM_HandleTypeDef *htim)
{
    if (htim->Instance == TIM3)
    {
        // Update encoder position at 500Hz
    	encoder_read_flag = 1;
    }
}

// Callback al recibir mensajes CAN
void HAL_FDCAN_RxFifo0Callback(FDCAN_HandleTypeDef *hfdcan, uint32_t FilterMatchIndex)
{
  HAL_FDCAN_GetRxMessage(hfdcan, FDCAN_RX_FIFO0, &RxHeader, RxData); // Recibe mensaje

  // Process received message
  // Example: echo back the same data
  HAL_FDCAN_AddMessageToTxFifoQ(hfdcan, &TxHeader, RxData);
}

// Inicialización del DRV8711
void DRV8711_Init(void) {
    // Habilitar el chip
    HAL_GPIO_WritePin(DRV8711_nSLEEP_PORT, DRV8711_nSLEEP_PIN, GPIO_PIN_SET); // Activa el chip

    // Configuración de registros (ajusta según tus necesidades)
    DRV8711_WriteRegister(0x00, 0x0C10); // CTRL: 1/8 paso, enable motor
    DRV8711_WriteRegister(0x01, 0x001F); // TORQUE: corriente máxima
    DRV8711_WriteRegister(0x02, 0x0300); // OFF: 3us off time
    DRV8711_WriteRegister(0x03, 0x0000); // BLANK: 0us blank time
    DRV8711_WriteRegister(0x04, 0x000A); // DECAY: mixed decay, 10us
    DRV8711_WriteRegister(0x05, 0x0101); // STALL: disable stall detection
    DRV8711_WriteRegister(0x06, 0x0000); // DRIVE: PWM 1x, 100% duty
    DRV8711_WriteRegister(0x07, 0x0000); // STATUS: clear faults
}

// Escribir registro del DRV8711
void DRV8711_WriteRegister(uint8_t address, uint16_t data) {
	// Formato SPI de 16 bits:
	// [15]    [14:12]    [11:0]
	// R/W=0   A2,A1,A0   D11-D0
	// Write   Address    12-bit Data

	uint16_t cmd = ((address & 0x07) << 12) | (data & 0xFFF);
	uint8_t tx[2] = {cmd >> 8, cmd & 0xFF};  // MSB first

	HAL_GPIO_WritePin(GPIOA, GPIO_PIN_4, GPIO_PIN_RESET);
	HAL_SPI_Transmit(&hspi1, tx, 2, 100);
	HAL_GPIO_WritePin(GPIOA, GPIO_PIN_4, GPIO_PIN_SET);
}

// Leer registro del DRV8711
uint16_t DRV8711_ReadRegister(uint8_t address) {
	// Formato de transmisión (SDATI):
	// TX: [15]    [14:12]    [11:0]
	//     R/W=1   A2,A1,A0   Don't care
	//
	// Formato de recepción (SDATO):
	// RX: [15:12]    [11:0]
	//     Undefined  D11-D0 (datos del registro)

	uint16_t cmd = 0x8000 | ((address & 0x07) << 12);
	uint8_t tx[2] = {cmd >> 8, cmd & 0xFF};
	uint8_t rx[2];

	HAL_GPIO_WritePin(GPIOA, GPIO_PIN_4, GPIO_PIN_RESET);
	HAL_SPI_TransmitReceive(&hspi1, tx, rx, 2, 100);
	HAL_GPIO_WritePin(GPIOA, GPIO_PIN_4, GPIO_PIN_SET);

	// Los 12 bits de datos vienen en los bits [11:0] de la respuesta
	return ((rx[0] << 8) | rx[1]) & 0xFFF;
}

// Control del motor
void Motor_Step(uint32_t steps, uint8_t direction, uint32_t speed) {
    // Establecer dirección
    HAL_GPIO_WritePin(DRV8711_DIR_PORT, DRV8711_DIR_PIN, direction ? GPIO_PIN_SET : GPIO_PIN_RESET);

    // Configurar temporización de pasos
    htim1.Instance->ARR = (SystemCoreClock / speed) - 1;
    htim1.Instance->CCR3 = (SystemCoreClock / speed) / 2;

    // Habilitar PWM para pasos
    HAL_TIM_PWM_Start(&htim1, TIM_CHANNEL_3);

    // Generar los pasos
    for(uint32_t i = 0; i < steps; i++) {
        // Esperar un periodo completo (el step ocurre en el flanco de subida)
        while(!(htim1.Instance->SR & TIM_SR_UIF));
        htim1.Instance->SR &= ~TIM_SR_UIF;
    }

    // Detener PWM
    HAL_TIM_PWM_Stop(&htim1, TIM_CHANNEL_3);
}

/* USER CODE END 4 */

void Error_Handler(void)
{
  __disable_irq();
  while (1)
  {
  }
}
